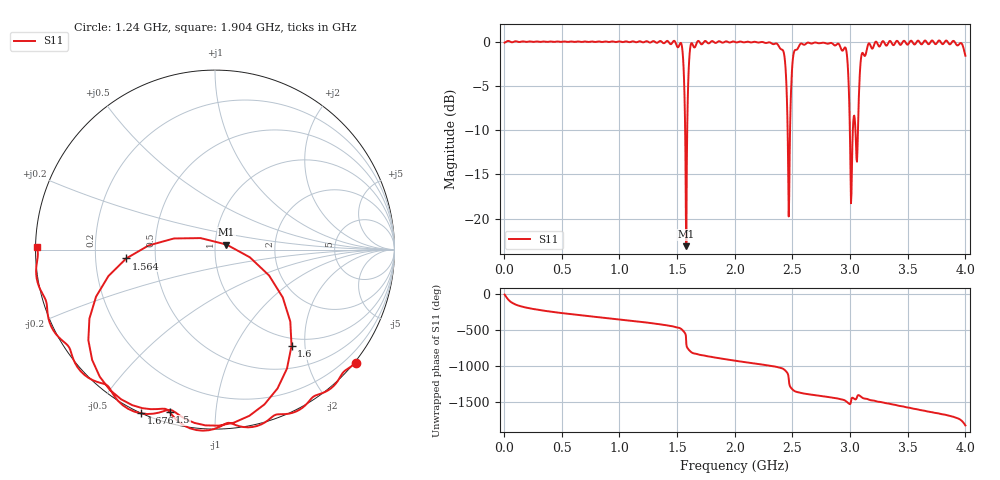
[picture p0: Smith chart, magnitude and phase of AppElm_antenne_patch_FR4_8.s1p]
! TOUCHSTONE file generated by CST MICROWAVE STUDIO
! Date and time: Tue Jun 14 14:31:18 2022
! Project name: AppElm_antenne_patch_FR4.cst
! Parameters = {L=45; W=58.5; e=0.035; h=1.6; lambda=0.190476; ls=132; w0=2.54; w1=0.847; ws=120; y0=18; y1=23.8}
! Header version: 2018
! Port assignment regex: !\s*Touchstone port\s*([0-9]+)\s*=\s*(CST MWS port|CST DS port)\s*([0-9]+|Zmin|Zmax)\s*\(\"(.*)\"\)(\s*mode\s*([0-9]+))?.*
! Touchstone port assignment:
! Touchstone port 1 = CST MWS port 1 ("")
# GHz S MA R 50
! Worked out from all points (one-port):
!   1000 points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, 4 MHz to 4 GHz, reference 50 ohm
!   lowest |S11| = -23.1 dB at 1.58 GHz (marker M1), VSWR 1.15, Z = 56.7 + j3.22 ohm
!   |S11| at or under -10 dB: 2.458 GHz to 2.48 GHz (21.18 MHz wide, 0.858 % of centre); 2.998 GHz to 3.024 GHz (26.09 MHz wide, 0.867 % of centre); 3.046 GHz to 3.068 GHz (21.8 MHz wide, 0.713 % of centre)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
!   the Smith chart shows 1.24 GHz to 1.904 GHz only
!   S11 on the Smith chart (normalised r, x): 1.24 GHz: -0.02, -2.84; 1.5 GHz: 0.05, -0.76; 1.564 GHz: 0.34, -0.04; 1.6 GHz: 0.86, -1.74; 1.676 GHz: -0.00, -0.64; 1.904 GHz: 0.00, +0.01
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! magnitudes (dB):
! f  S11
! 4 MHz  -0.1
! 504 MHz  0.0
! 1.004 GHz  0.0
! 1.24 GHz  0.0
! 1.5 GHz  -0.5
! 1.504 GHz  -0.6
! 1.544 GHz  -0.7
! 1.564 GHz  -6.1
! 1.58 GHz  -23.1
! 1.6 GHz  -3.3
! 1.62 GHz  -0.3
! 1.676 GHz  0.0
! 1.904 GHz  -0.1
! 2.004 GHz  0.0
! 2.408 GHz  -0.9
! 2.432 GHz  -1.8
! 2.468 GHz  -19.7
! 2.484 GHz  -7.3
! 2.504 GHz  -1.9
! 2.576 GHz  -0.2
! 2.952 GHz  -0.7
! 2.976 GHz  -2.0
! 3.004 GHz  -15.0
! 3.06 GHz  -13.6
! 3.092 GHz  -2.2
! 3.112 GHz  -1.3
! 3.504 GHz  -0.3
! 4 GHz  -1.6
